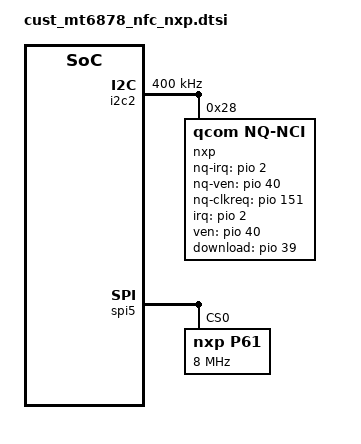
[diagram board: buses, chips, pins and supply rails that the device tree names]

//NFCC for Mediateckstart
&i2c2 {
    status = "okay";
    clock-frequency = <400000>;
    nxp@28 {
        compatible = "qcom,nq-nci";
        reg = <0x28>;
        qcom,nq-irq         = <&pio 2 0x00>;
        interrupt-parent    = <&pio>;
        interrupts          = <2 IRQ_TYPE_LEVEL_HIGH 2 0>;
        qcom,nq-ven         = <&pio 40 0x0>;
//      qcom,nq-firm        = <&pio 39 0x0>;
        qcom,nq-clkreq      = <&pio 151 0x0>;

        tms,irq-gpio         = <&pio 2 0x00>;
        tms,ven-gpio         = <&pio 40 0x0>;
        tms,download-gpio        = <&pio 39 0x0>;

        interrupt-names = "nfc_irq";
        pinctrl-names   = "default", "nfc_active", "nfc_suspend";
        pinctrl-0 = <&nfc_default>;
        pinctrl-1 = <&nfc_int_active &nfc_enable_active
                    &nfc_firmwaredownload_active &nfc_clk_req_active>;
        pinctrl-2 = <&nfc_int_suspend &nfc_enable_suspend
                    &nfc_firmwaredownload_suspend &nfc_clk_req_suspend>;
    };
};
&pio {
    nfc_default: nfc_default {
    };
    nfc_int_active: nfc_int_active {
        pins_cmd_dat {
            pinmux = <PINMUX_GPIO2__FUNC_GPIO2>;
            slew-rate = <0>;
            drive-strength = <MTK_DRIVE_2mA>;
            bias-pull-up;
        };
    };
    nfc_int_suspend: nfc_int_suspend {
        pins_cmd_dat {
            pinmux = <PINMUX_GPIO2__FUNC_GPIO2>;
            slew-rate = <0>;
            drive-strength = <MTK_DRIVE_2mA>;
            bias-pull-up;
        };
    };
    nfc_enable_active: nfc_enable_active {
        pins_cmd_dat {
            pinmux = <PINMUX_GPIO40__FUNC_GPIO40>;
            slew-rate = <1>;
            output-high;
            drive-strength = <MTK_DRIVE_2mA>;
            bias-pull-up=<MTK_PUPD_SET_R1R0_11>;
        };
    };
    nfc_enable_suspend: nfc_enable_suspend {
        pins_cmd_dat {
            pinmux = <PINMUX_GPIO40__FUNC_GPIO40>;
            slew-rate = <1>;
            drive-strength = <MTK_DRIVE_2mA>;
            bias-disable;
        };
    };
     nfc_firmwaredownload_active: nfc_firmwaredownload_active {
        pins_cmd_dat {
            pinmux = <PINMUX_GPIO39__FUNC_GPIO39>;
            slew-rate = <1>;
            drive-strength = <MTK_DRIVE_2mA>;
            bias-pull-up;
        };
    };
    nfc_firmwaredownload_suspend: nfc_firmwaredownload_suspend {
        pins_cmd_dat {
            pinmux = <PINMUX_GPIO39__FUNC_GPIO39>;
            slew-rate = <1>;
            drive-strength = <MTK_DRIVE_2mA>;
            bias-disable;
        };
    };
    nfc_clk_req_active: nfc_clk_req_active {
        pins_cmd_dat {
            pinmux = <PINMUX_GPIO151__FUNC_SRCLKENAI0>;
            slew-rate = <0>;
            input-enable;
            drive-strength = <MTK_DRIVE_2mA>;
            bias-pull-up;
        };
    };
    nfc_clk_req_suspend: nfc_clk_req_suspend {
        pins_cmd_dat {
            pinmux = <PINMUX_GPIO151__FUNC_SRCLKENAI0>;
            slew-rate = <0>;
            input-enable;
            drive-strength = <MTK_DRIVE_2mA>;
            bias-pull-down;
        };
    };
};
//NFCC end
/* eSE SPI configuration */
&spi5 {
    #address-cells = <1>;
    #size-cells = <0>;
    p61@0 {
        compatible = "nxp,p61";
        reg = <0>;
        nxp,nfcc = "2-0028";
        spi-max-frequency = <8000000>;
        status = "okay";
        pinctrl-names = "nxp_ese_spi_mode";
        pinctrl-0 = <&nxp_ese_spi_mode>;
    };
};
&pio {
    nxp_ese_spi_mode: nxp_ese_spi_mode {
        pins_cmd_dat {
            pinmux = <PINMUX_GPIO75__FUNC_SPI5_MI>,
                    <PINMUX_GPIO74__FUNC_SPI5_MO>,
                    <PINMUX_GPIO72__FUNC_SPI5_CLK>,
                    <PINMUX_GPIO73__FUNC_SPI5_CSB>;
            drive-strength = <6>;
        };
    };
};
/* eSE SPI configuration -- end */

